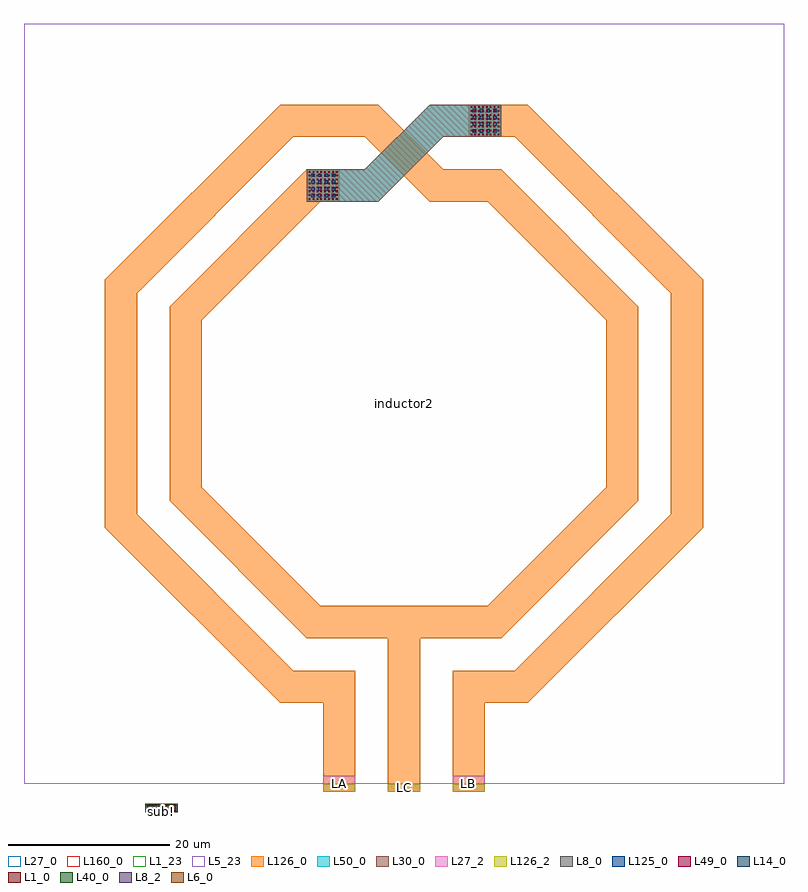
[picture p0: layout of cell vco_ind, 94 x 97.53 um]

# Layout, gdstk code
import gdstk
lib = gdstk.Library(unit=1e-6, precision=1e-09)
def R(c, l, rs):  # rectangles x0, y0, x1, y1
    for r in rs: c.add(gdstk.rectangle(r[:2], r[2:], *l))
def A(c, l, x, y, w, h, nx, ny, dx, dy):  # array of equal rectangles
    R(c, l, [(x+i*dx, y+j*dy, x+i*dx+w, y+j*dy+h) for i in range(nx) for j in range(ny)])
def P(c, l, *ps):  # polygons
    for p in ps: c.add(gdstk.Polygon(p, *l))
L1_0 = (1, 0)
L1_23 = (1, 23)
L5_23 = (5, 23)
L6_0 = (6, 0)
L8_0 = (8, 0)
L8_2 = (8, 2)
L14_0 = (14, 0)
L27_0 = (27, 0)
L27_2 = (27, 2)
L30_0 = (30, 0)
L40_0 = (40, 0)
L49_0 = (49, 0)
L50_0 = (50, 0)
L125_0 = (125, 0)
L126_0 = (126, 0)
L126_2 = (126, 2)
L160_0 = (160, 0)

vco_ind = lib.new_cell('vco_ind')
R(vco_ind, L1_0, [(-32,-3.5,-28,-2.5)])
R(vco_ind, L1_23, [(-47,0,47,94)])
R(vco_ind, L5_23, [(-47,0,47,94)])
A(vco_ind, L6_0, -31.78, -3.42, 0.16, 0.16, 11, 3, 0.34, 0.34)
R(vco_ind, L8_0, [(-31.78,-3.47,-28.22,-2.53), (-31.78,-3.42,-28.22,-2.58)])
R(vco_ind, L8_2, [(-31.78,-3.42,-28.22,-2.58)])
R(vco_ind, L14_0, [(-32.03,-3.53,-27.97,-2.47)])
R(vco_ind, L27_0, [(-47,0,47,94)])
R(vco_ind, L27_2, [(-10,-1,-6,1), (6,-1,10,1)])
P(vco_ind, L30_0, [(-12,72),(-12,76),(-4.83,76),(3.17,84),(12,84),(12,80),(4.83,80),(-3.17,72)])
R(vco_ind, L40_0, [(-32,-3.5,-28,-2.5)])
A(vco_ind, L49_0, -11.775, 72.225, 0.19, 0.19, 8, 8, 0.48, 0.48)
A(vco_ind, L49_0, 8.225, 80.225, 0.19, 0.19, 8, 8, 0.48, 0.48)
P(vco_ind, L50_0, [(-12,72),(-12,76),(-4.83,76),(3.17,84),(12,84),(12,80),(4.83,80),(-3.17,72)])
A(vco_ind, L125_0, -11.47, 72.53, 0.42, 0.42, 4, 4, 0.84, 0.84)
A(vco_ind, L125_0, 8.53, 80.53, 0.42, 0.42, 4, 4, 0.84, 0.84)
P(vco_ind, L126_0, [(-10,-1),(-10,10),(-15.325,10),(-37,31.675),(-37,62.325),(-15.325,84),(-3.17,84),(4.83,76),(12.01,76),(29,59.01),(29,34.99),(12.01,18),(2,18),(2,-1),(-2,-1),(-2,18),(-12.01,18),(-29,34.99),(-29,59.01),(-12.01,76),(-8,76),(-8,72),(-10.355,72),(-25,57.355),(-25,36.645),(-10.355,22),(10.355,22),(25,36.645),(25,57.355),(10.355,72),(3.17,72),(-4.83,80),(-13.67,80),(-33,60.67),(-33,33.33),(-13.67,14),(-6,14),(-6,-1)],
  [(6,-1),(6,14),(13.67,14),(33,33.33),(33,60.67),(13.67,80),(8,80),(8,84),(15.325,84),(37,62.325),(37,31.675),(15.325,10),(10,10),(10,-1)])
A(vco_ind, L126_2, -10, -1, 4, 1, 3, 1, 8, 0)
R(vco_ind, L160_0, [(-47,0,47,94)])
vco_ind.add(gdstk.Label('LA', (-8,0), layer=27, texttype=25))
vco_ind.add(gdstk.Label('LB', (8,0), layer=27, texttype=25))
vco_ind.add(gdstk.Label('inductor2', (0,47), layer=63, texttype=0))
vco_ind.add(gdstk.Label('sub!', (-30,-3.49), layer=63, texttype=0))
vco_ind.add(gdstk.Label('LA', (-8,-0.5), layer=126, texttype=25))
vco_ind.add(gdstk.Label('LB', (8,-0.5), layer=126, texttype=25))
vco_ind.add(gdstk.Label('LC', (0,-0.5), layer=126, texttype=25))
vco_ind.add(gdstk.Label('sub!', (-30,-3.49), layer=40, texttype=0))
vco_ind.add(gdstk.Label('VSS', (-30,-3), layer=8, texttype=25))

lib.write_gds('vco_ind.gds')
